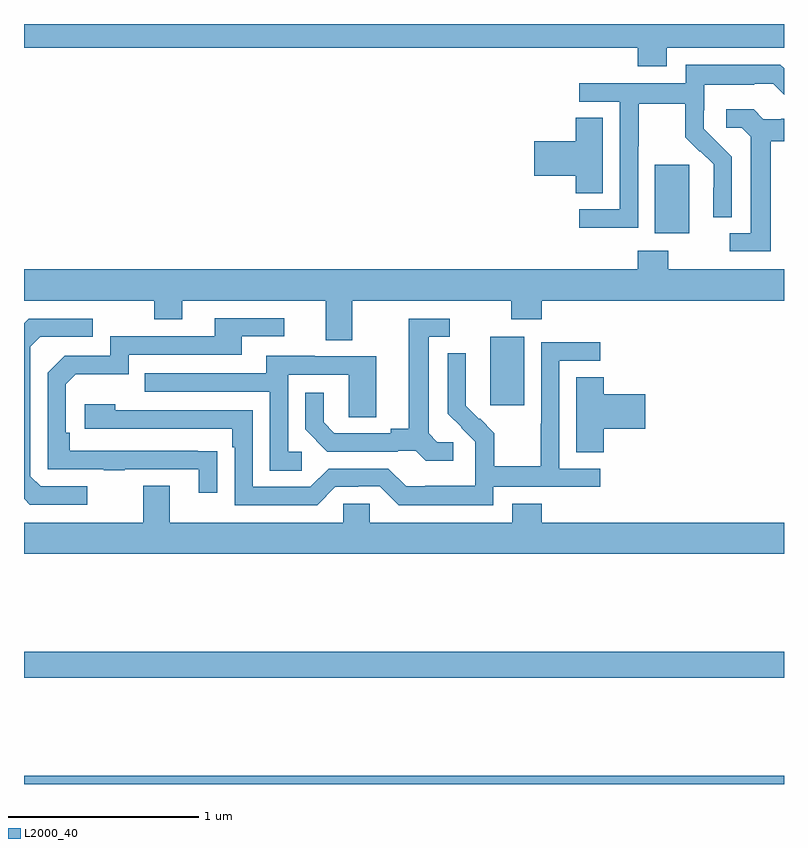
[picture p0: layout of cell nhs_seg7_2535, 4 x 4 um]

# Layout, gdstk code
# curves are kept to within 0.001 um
import gdstk
lib = gdstk.Library(unit=1e-6, precision=1e-09)
def R(c, l, rs):  # rectangles x0, y0, x1, y1
    for r in rs: c.add(gdstk.rectangle(r[:2], r[2:], *l))
def P(c, l, *ps):  # polygons
    for p in ps: c.add(gdstk.Polygon(p, *l))
L2000_40 = (2000, 40)

nhs_seg7_2535 = lib.new_cell('nhs_seg7_2535')
R(nhs_seg7_2535, L2000_40, [(275,1070,279,1070.044), (275,1070.56,279,1070.696), (277.454,1071.993,277.633,1072.354), (278.321,1072.898,278.5,1073.259)])
P(nhs_seg7_2535, L2000_40, [(278.383,1073.876),(279,1073.876),(279,1074),(275,1074),(275,1073.876),(278.231,1073.876),(278.231,1073.777),(278.383,1073.777)],
  [(278.232,1073.356),(278.235,1073.356),(278.235,1073.58),(278.479,1073.58),(278.479,1073.405),(278.556,1073.328),(278.559,1073.331),(278.63,1073.261),(278.63,1073.138),(278.628,1073.138),(278.628,1072.984),(278.724,1072.984),(278.724,1073.302),(278.578,1073.45),(278.578,1073.547),(278.58,1073.547),(278.58,1073.681),(278.843,1073.681),(278.843,1073.685),(278.943,1073.685),(279,1073.628),(279,1073.766),(278.981,1073.785),(278.484,1073.785),(278.484,1073.688),(277.923,1073.688),(277.923,1073.592),(278.136,1073.592),(278.136,1073.025),(277.923,1073.025),(277.923,1072.927),(278.232,1072.927)],
  [(278.929,1073.384),(279,1073.384),(279,1073.502),(278.986,1073.502),(278.986,1073.499),(278.892,1073.499),(278.84,1073.551),(278.697,1073.551),(278.697,1073.454),(278.778,1073.454),(278.825,1073.407),(278.825,1072.899),(278.715,1072.899),(278.715,1072.803),(278.929,1072.803)],
  [(278.047,1073.507),(277.904,1073.507),(277.904,1073.384),(277.686,1073.384),(277.686,1073.201),(277.904,1073.201),(277.904,1073.11),(278.047,1073.11)],
  [(276.727,1072.544),(277.564,1072.544),(277.564,1072.445),(277.724,1072.445),(277.724,1072.544),(279,1072.544),(279,1072.708),(278.391,1072.708),(278.391,1072.807),(278.231,1072.807),(278.231,1072.708),(275,1072.708),(275,1072.544),(275.686,1072.544),(275.686,1072.445),(275.833,1072.445),(275.833,1072.544),(276.587,1072.544),(276.587,1072.336),(276.727,1072.336)],
  [(276.017,1071.752),(275.24,1071.753),(275.24,1071.85),(275.22,1071.85),(275.22,1072.104),(275.273,1072.157),(275.55,1072.157),(275.55,1072.26),(276.145,1072.26),(276.145,1072.356),(276.37,1072.356),(276.37,1072.452),(276.005,1072.452),(276.005,1072.356),(275.454,1072.356),(275.454,1072.254),(275.214,1072.254),(275.124,1072.164),(275.124,1071.657),(275.419,1071.657),(275.419,1071.652),(275.531,1071.652),(275.531,1071.657),(275.921,1071.657),(275.921,1071.534),(276.017,1071.534)],
  [(277.258,1071.798),(277.176,1071.798),(277.129,1071.845),(277.129,1072.353),(277.24,1072.353),(277.24,1072.449),(277.025,1072.449),(277.025,1071.869),(276.929,1071.869),(276.929,1071.846),(276.634,1071.846),(276.577,1071.903),(276.577,1072.06),(276.48,1072.06),(276.48,1071.866),(276.596,1071.75),(276.968,1071.75),(276.968,1071.753),(277.062,1071.753),(277.114,1071.701),(277.258,1071.701)],
  [(275.332,1071.567),(275.088,1071.567),(275.034,1071.621),(275.034,1072.302),(275.085,1072.353),(275.362,1072.353),(275.362,1072.449),(275.025,1072.449),(275,1072.424),(275,1071.502),(275.031,1071.471),(275.332,1071.471)],
  [(277.47,1071.564),(278.032,1071.564),(278.032,1071.66),(277.818,1071.66),(277.818,1072.227),(278.032,1072.227),(278.032,1072.326),(277.722,1072.326),(277.722,1071.896),(277.72,1071.896),(277.72,1071.673),(277.475,1071.673),(277.475,1071.847),(277.398,1071.924),(277.395,1071.921),(277.325,1071.992),(277.326,1072.268),(277.23,1072.268),(277.23,1071.95),(277.376,1071.802),(277.376,1071.705),(277.374,1071.705),(277.374,1071.571),(277.111,1071.571),(277.111,1071.567),(277.011,1071.567),(276.918,1071.66),(276.603,1071.66),(276.507,1071.564),(276.204,1071.564),(276.204,1071.966),(275.48,1071.966),(275.48,1072),(275.319,1072),(275.319,1071.87),(276.095,1071.87),(276.095,1071.773),(276.108,1071.773),(276.108,1071.468),(276.543,1071.468),(276.639,1071.564),(276.758,1071.564),(276.758,1071.567),(276.873,1071.567),(276.973,1071.467),(277.47,1071.467)],
  [(276.463,1071.75),(276.39,1071.75),(276.39,1072.155),(276.708,1072.155),(276.708,1071.931),(276.853,1071.931),(276.853,1072.251),(276.529,1072.251),(276.529,1072.255),(276.275,1072.255),(276.275,1072.161),(275.635,1072.161),(275.635,1072.065),(276.294,1072.065),(276.294,1071.649),(276.463,1071.649)],
  [(278.051,1071.869),(278.269,1071.869),(278.269,1072.052),(278.051,1072.052),(278.051,1072.142),(277.907,1072.142),(277.907,1071.745),(278.051,1071.745)],
  [(279,1071.376),(277.724,1071.376),(277.724,1071.475),(277.571,1071.475),(277.571,1071.376),(276.819,1071.376),(276.819,1071.474),(276.681,1071.474),(276.681,1071.376),(275.767,1071.376),(275.767,1071.571),(275.627,1071.571),(275.627,1071.376),(275,1071.376),(275,1071.212),(279,1071.212)])

lib.write_gds('nhs_seg7_2535.gds')
